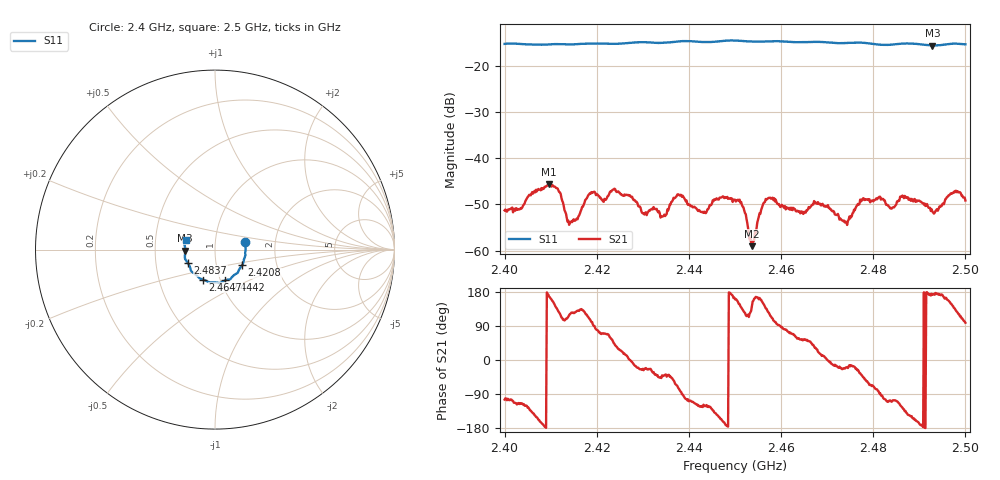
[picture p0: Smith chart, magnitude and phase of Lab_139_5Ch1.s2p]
# Hz S RI R 50
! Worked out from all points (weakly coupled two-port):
!   601 points, 2.4 GHz to 2.5 GHz, reference 50 ohm
!   highest |S21| = -45.66 dB at 2.4097 GHz (marker M1); lowest = -59.0 dB at 2.4537 GHz (marker M2)
!   lowest |S11| = -15.6 dB at 2.4928 GHz (marker M3), VSWR 1.40, Z = 35.8 - j0.37 ohm
!   |S11| at or under -10 dB: start of sweep to end of sweep
!   S12 and S22 are empty: the file has one direction only
!   S11 on the Smith chart (normalised r, x): 2.4 GHz: 1.40, +0.12; 2.4208 GHz: 1.33, -0.24; 2.4442 GHz: 1.05, -0.37; 2.4647 GHz: 0.83, -0.29; 2.4837 GHz: 0.73, -0.11; 2.5 GHz: 0.72, +0.08
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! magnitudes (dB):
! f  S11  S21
! 2.4 GHz  -15.3  -51.3
! 2.4097 GHz  -15.4  -45.7
! 2.4117 GHz  -15.3  -46.9
! 2.414 GHz  -15.4  -54.4
! 2.4167 GHz  -15.2  -51.1
! 2.4208 GHz  -15.2  -48.6
! 2.4333 GHz  -15.0  -51.7
! 2.4378 GHz  -14.7  -47.9
! 2.4442 GHz  -14.9  -51.0
! 2.45 GHz  -14.5  -49.0
! 2.4518 GHz  -14.6  -50.6
! 2.4537 GHz  -14.8  -59.0
! 2.4572 GHz  -14.7  -48.7
! 2.4647 GHz  -14.9  -51.9
! 2.4667 GHz  -14.8  -50.2
! 2.474 GHz  -15.1  -53.7
! 2.4777 GHz  -15.0  -49.1
! 2.4833 GHz  -15.5  -50.4
! 2.4837 GHz  -15.4  -50.8
! 2.4865 GHz  -15.2  -48.3
! 2.4928 GHz  -15.6  -51.5
! 2.5 GHz  -15.4  -49.1
